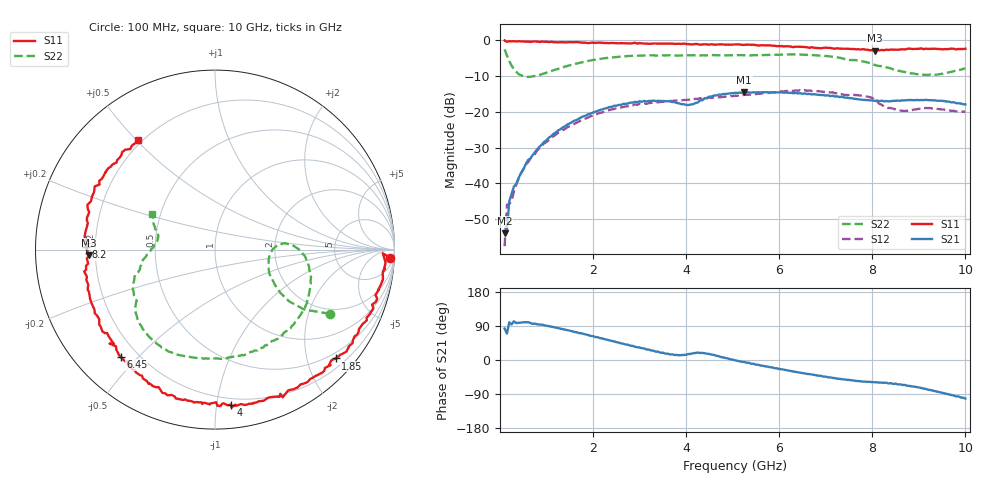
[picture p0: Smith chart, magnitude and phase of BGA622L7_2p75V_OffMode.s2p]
! Infineon Technologies AG
! BGA622L7, SiGe Wide Band Low Noise Amplifier in P-TSLP-7-1
! Vcc=2.75 V, Icc=0.3 mA, Vout=2.75 V (Off-Mode)
! 25.10.2004
#  GHz  S  DB  R  50
! f  S11  S21  S12  S22
! GHz  Mag  Ang  Mag  Ang  Mag  Ang  Mag  Ang
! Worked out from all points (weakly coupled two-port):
!   199 points, 100 MHz to 10 GHz, reference 50 ohm
!   highest |S21| = -14.58 dB at 5.25 GHz (marker M1); lowest = -53.8 dB at 100 MHz (marker M2)
!   lowest |S11| = -3.1 dB at 8.05 GHz (marker M3), VSWR 5.72, Z = 8.75 - j1.1 ohm
!   |S11| at or under -10 dB: nowhere
!   |S22| runs from -10.4 to -2.7 dB; largest |S21 - S12| = 0.065
!   S11 on the Smith chart (normalised r, x): 100 MHz: 18, -34; 1.85 GHz: 0.38, -2.55; 4 GHz: 0.16, -1.09; 6.45 GHz: 0.14, -0.44; 8.2 GHz: 0.16, +0.01; 10 GHz: 0.18, +0.51
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0.1  -0.22 -2.6  -53.83 83.2  -57.44 122.3  -2.69 -29.2
0.15  -0.58 -1.2  -53.00 69.4  -45.91 94.6  -4.46 -33.9
0.2  -0.42 -4.3  -44.97 99.6  -45.67 97.2  -5.97 -34.9
0.25  -0.47 -7.0  -42.87 93.8  -44.88 109.3  -7.23 -33.4
0.3  -0.43 -6.4  -40.81 102.2  -42.22 104.4  -8.22 -30.5
0.5  -0.49 -11.6  -36.14 99.6  -36.05 97.3  -10.11 -16.6
0.95  -0.59 -22.0  -28.42 91.6  -28.87 89.3  -9.36 3.1
1.75  -0.81 -40.0  -21.56 70.6  -22.41 69.4  -6.32 -1.8
1.85  -0.87 -42.1  -21.09 67.2  -21.88 66.2  -6.03 -3.7
2.65  -0.98 -60.2  -17.86 43.0  -18.71 44.2  -4.63 -27.3
3.4  -1.12 -73.9  -17.00 22.0  -17.40 27.0  -4.38 -48.7
4  -1.22 -84.2  -18.14 13.9  -16.74 14.7  -4.41 -62.5
5.05  -1.34 -103.6  -14.78 -0.8  -15.58 -2.7  -4.32 -84.8
5.25  -1.46 -106.7  -14.58 -5.1  -15.29 -5.9  -4.35 -89.0
6.45  -1.98 -131.4  -14.89 -33.2  -14.03 -34.6  -4.13 -118.5
6.7  -2.08 -138.3  -15.22 -38.2  -14.27 -42.1  -4.28 -125.4
7.3  -2.50 -153.6  -15.96 -49.7  -15.16 -59.4  -5.03 -142.4
8.05  -3.07 -177.4  -17.04 -58.5  -16.68 -84.7  -7.02 -163.7
8.2  -2.86 178.8  -16.97 -59.7  -18.10 -85.1  -7.38 -167.0
8.35  -2.84 174.9  -17.19 -62.0  -19.03 -84.4  -7.83 -171.8
9.2  -2.58 147.8  -16.82 -78.3  -19.02 -83.0  -9.81 168.8
10  -2.52 125.2  -18.00 -101.7  -20.02 -97.8  -7.94 150.7
